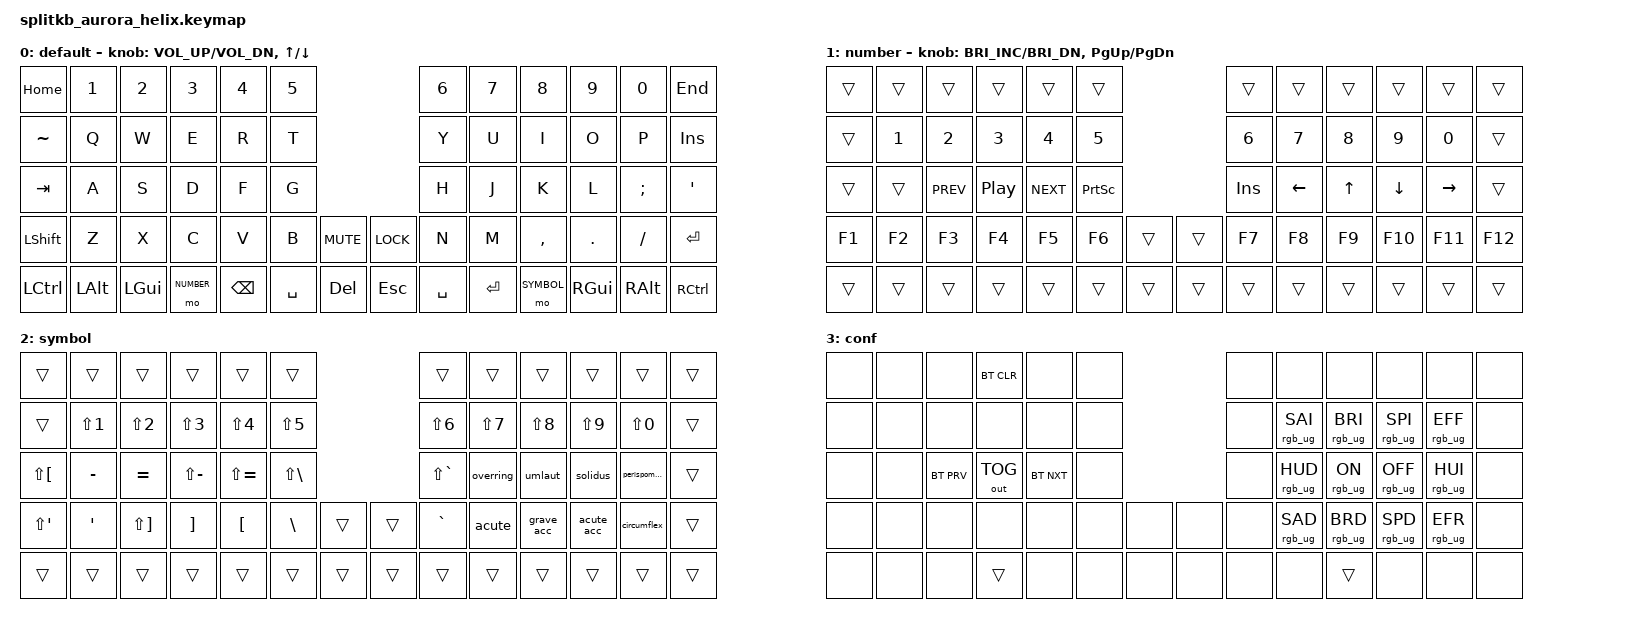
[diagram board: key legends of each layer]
/*
 * Copyright (c) 2023 The ZMK Contributors
 *
 * SPDX-License-Identifier: MIT
 */

#include <behaviors.dtsi>
#include <dt-bindings/zmk/keys.h>
#include <dt-bindings/zmk/bt.h>
#include <dt-bindings/zmk/rgb.h>
#include <dt-bindings/zmk/ext_power.h>
#include <dt-bindings/zmk/outputs.h>

#define DEFAULT 0
#define NUMBER  1
#define SYMBOL  2
#define CONFIG  3

/* Uncomment this block if using RGB */
&led_strip {
  // chain-length = <6>; // Uncomment if using only underglow LEDs
  chain-length = <38>; // Uncomment if using both per-key and underglow LEDs
  // chain-length = <32>; // Uncomment if using only per-key LEDs.
};

&sensors {
  triggers-per-rotation = <72>;
};

/ {
  conditional_layers {
    compatible = "zmk,conditional-layers";
    tri_layer {
      if-layers = <1 2>;
      then-layer = <3>;
    };
  };
  macros {
    // compose + o in dvorak
    overring: overring {
      compatible = "zmk,behavior-macro";
      #binding-cells = <0>;
      bindings = <&kp RALT &kp S>;
    };
    // compose + " in dvorak
    umlaut: umlaut {
      compatible = "zmk,behavior-macro";
      #binding-cells = <0>;
      bindings = <&kp RALT &kp LS(Q)>;
    };
    // compose + / in dvorak
    solidus: solidus {
      compatible = "zmk,behavior-macro";
      #binding-cells = <0>;
      bindings = <&kp RALT &kp LBKT>;
    };
    // compose + ~ in dvorak
    perispomene: perispomene {
      compatible = "zmk,behavior-macro";
      #binding-cells = <0>;
      bindings = <&kp RALT &kp LS(GRAVE)>;
    };
    // compose + ' + ' in dvorak
    acute: acute {
      compatible = "zmk,behavior-macro";
      #binding-cells = <0>;
      bindings = <&kp RALT &kp Q &kp Q>;
    };
    // compose + ` in dvorak
    grave_acc: grave_acc {
      compatible = "zmk,behavior-macro";
      #binding-cells = <0>;
      bindings = <&kp RALT &kp GRAVE>;
    };
    // compose + ' in dvorak
    acute_acc: acute_acc {
      compatible = "zmk,behavior-macro";
      #binding-cells = <0>;
      bindings = <&kp RALT &kp Q>;
    };
    // compose + ^ in dvorak
    circumflex: circumflex {
      compatible = "zmk,behavior-macro";
      #binding-cells = <0>;
      bindings = <&kp RALT &kp LS(N6)>;
    };
  };
  keymap {
    compatible = "zmk,keymap";

    default_layer {
      display-name = "default";

      // ---------------------------------------------------------------------------------------------------------------------------------
      // |  HOME  |   1    |   2    |   3    |   4    |   5    |                        |   6   |   7    |   8    |   9    |   0    |  END   |
      // |   ~    |   Q    |   W    |   E    |   R    |   T    |                        |   Y   |   U    |   I    |   O    |   P    |  INS   |
      // |  TAB   |   A    |   S    |   D    |   F    |   G    |                        |   H   |   J    |   K    |   L    |   ;    |   "    |
      // | SHIFT  |   Z    |   X    |   C    |   V    |   B    |  MUTE  |      |  LOCK  |   N   |   M    |   ,    |   .    |   /    | RSHIFT |
      // | LCTRL  |  LALT  |  LGUI  | NUMBER |  BSPC  | SPACE  |  DEL   |      |  ESC   | SPACE |  RET   | SYMBOL |  RGUI  |  RALT  | RCTRL  |
      bindings = <
        &kp HOME  &kp N1   &kp N2   &kp N3     &kp N4   &kp N5                           &kp N6    &kp N7  &kp N8     &kp N9     &kp N0    &kp END
        &kp TILDE &kp Q    &kp W    &kp E      &kp R    &kp T                            &kp Y     &kp U   &kp I      &kp O      &kp P     &kp INSERT
        &kp TAB   &kp A    &kp S    &kp D      &kp F    &kp G                            &kp H     &kp J   &kp K      &kp L      &kp SEMI  &kp SQT
        &kp LSHFT &kp Z    &kp X    &kp C      &kp V    &kp B     &kp C_MUTE  &kp K_LOCK &kp N     &kp M   &kp COMMA  &kp PERIOD &kp SLASH &kp RET
        &kp LCTRL &kp LALT &kp LGUI &mo NUMBER &kp BSPC &kp SPACE &kp DEL     &kp ESC    &kp SPACE &kp RET &mo SYMBOL &kp RGUI   &kp RALT  &kp RCTRL
      >;
      // Encoders, in the order of left, right
      sensor-bindings = <&inc_dec_kp C_VOL_UP C_VOL_DN   &inc_dec_kp UP DOWN>;
    };

    number_layer {
      display-name = "number";

      // ---------------------------------------------------------------------------------------------------------------------------------
      // | RGB_TOG|        | BT_PRV | BT_CLR | BT_NXT |       |                         |       |        |        |        |        |        |
      // | RGB_BRI|   N1   |   N2   |   N3   |   N4   |   N5  |                         |   N6  |   N7   |   N8   |   N9   |   N0   |        |
      // | RGB_BRD|        | mPrev  |  mPlay | mNext  | PRTSCR|                         |  INS  |  LEFT  |   UP   |  DOWN  | RIGHT  |        |
      // |   F1   |   F2   |   F3   |   F4   |   F5   |   F6  | K_MUTE2 |      |        |   F7  |   F8   |   F9   |   F10  |   F11  |  F12   |
      // |        |        |        |        |        |       |         |      |        |       |        |        |        |        |        |
      bindings = <
        &trans  &trans  &trans     &trans   &trans     &trans                        &trans   &trans    &trans  &trans    &trans     &trans
        &trans  &kp N1  &kp N2     &kp N3   &kp N4     &kp N5                        &kp N6   &kp N7    &kp N8  &kp N9    &kp N0     &trans
        &trans  &trans  &kp C_PREV &kp C_PP &kp C_NEXT &kp PSCRN                     &kp INS  &kp LEFT  &kp UP  &kp DOWN  &kp RIGHT  &trans
        &kp F1  &kp F2  &kp F3     &kp F4   &kp F5     &kp F6    &trans      &trans  &kp F7   &kp F8    &kp F9  &kp F10   &kp F11    &kp F12
        &trans  &trans  &trans     &trans   &trans     &trans    &trans      &trans  &trans   &trans    &trans  &trans    &trans     &trans
      >;
      sensor-bindings = <&inc_dec_kp C_BRI_INC C_BRI_DN   &inc_dec_kp PG_UP PG_DN>;
    };

    symbol_layer {
      display-name = "symbol";

      // ---------------------------------------------------------------------------------------------------------------------------------
      // |        |        |        |        |        |       |                        |       |        |        |        |        |        |
      // |        |   !    |   @    |   #    |   $    |   %   |                        |   ^   |   &    |   *    |   (    |   )    |        |
      // |   ?    |   [    |   ]    |   {    |   }    |   |   |                        | tilde |   c_o  |   c_"  |   c_/  |   c_~  |        | (overring, umlaut, solidus, perispomene)
      // |   _    |   -    |   +    |   =    |   /    |   \   |         |      |       | grave |  c_'_' |   c_`  |   c_'  |   c_^  |        | (acute, grave_acc, acute_acc, circumflex)
      // |        |        |        |        |        |       |         |      |       |       |        |        |        |        |        |
      bindings = <
        &trans       &trans     &trans       &trans        &trans        &trans                       &trans        &trans     &trans     &trans     &trans       &trans
        &trans       &kp LS(N1) &kp LS(N2)   &kp LS(N3)    &kp LS(N4)    &kp LS(N5)                   &kp LS(N6)    &kp LS(N7) &kp LS(N8) &kp LS(N9) &kp LS(N0)   &trans
        &kp LS(LBKT) &kp MINUS  &kp EQUAL    &kp LS(MINUS) &kp LS(EQUAL) &kp LS(BSLH)                 &kp LS(GRAVE) &overring  &umlaut    &solidus   &perispomene &trans
        &kp LS(SQT)  &kp SQT    &kp LS(RBKT) &kp RBKT      &kp LBKT      &kp BSLH     &trans  &trans  &kp GRAVE     &acute     &grave_acc &acute_acc &circumflex  &trans
        &trans       &trans     &trans       &trans        &trans        &trans       &trans  &trans  &trans        &trans     &trans     &trans     &trans       &trans
      >;
    };

    config_layer {
      display-name = "conf";

      // ---------------------------------------------------------------------------------------------------------------------------------
      // |        |        |        | BT_CLR |        |       |                         |       |        |        |        |        |        |
      // |        |        |        |        |        |       |                         |       | SAT_I  | BRI_I  | SPEED_I| EFF_PRE|        |
      // |        |        | BT_PRV | OUT_TOG| BT_NXT |       |                         |       | HUE_D  | RGB_ON | RGB_OFF| HUE_I  |        |
      // |        |        |        |        |        |       |         |      |        |       | SAT_D  | BRI_D  | SPEED_D| EFF_NXT|        |
      // |        |        |        |        |        |       |         |      |        |       |        |        |        |        |        |
      bindings = <
        &none  &none  &none      &bt BT_CLR   &none      &none                     &none   &none           &none           &none           &none           &none
        &none  &none  &none      &none        &none      &none                     &none   &rgb_ug RGB_SAI &rgb_ug RGB_BRI &rgb_ug RGB_SPI &rgb_ug RGB_EFF &none
        &none  &none  &bt BT_PRV &out OUT_TOG &bt BT_NXT &none                     &none   &rgb_ug RGB_HUD &rgb_ug RGB_ON  &rgb_ug RGB_OFF &rgb_ug RGB_HUI &none
        &none  &none  &none      &none        &none      &none    &none    &none   &none   &rgb_ug RGB_SAD &rgb_ug RGB_BRD &rgb_ug RGB_SPD &rgb_ug RGB_EFR &none
        &none  &none  &none      &trans       &none      &none    &none    &none   &none   &none           &trans          &none           &none           &none
      >;
    };
  };
};
